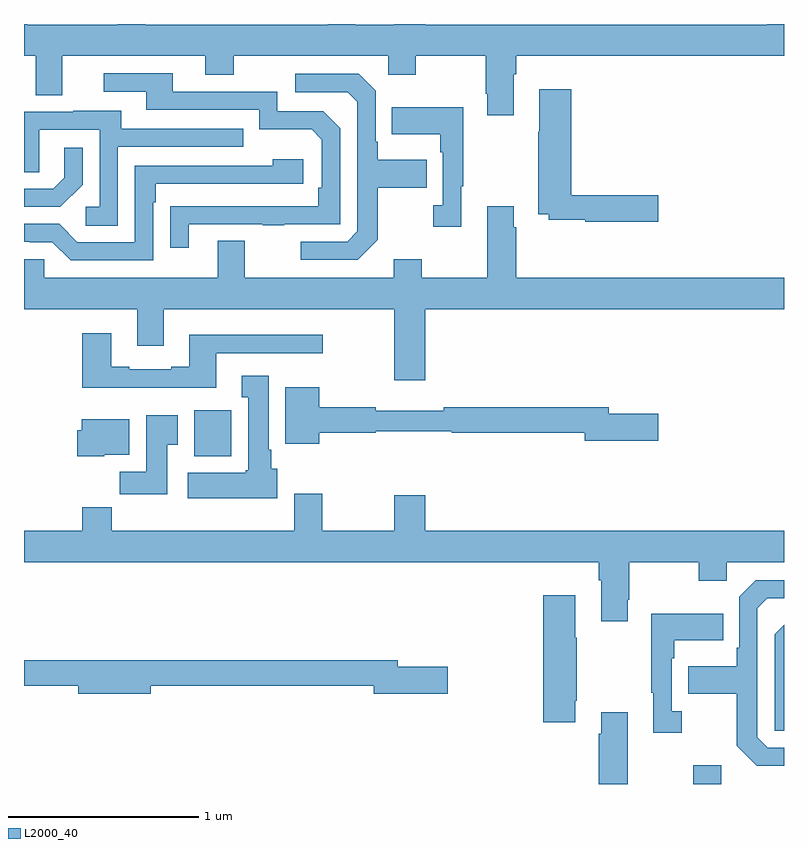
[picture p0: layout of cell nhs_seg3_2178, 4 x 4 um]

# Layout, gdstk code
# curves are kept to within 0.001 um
import gdstk
lib = gdstk.Library(unit=1e-6, precision=1e-09)
def R(c, l, rs):  # rectangles x0, y0, x1, y1
    for r in rs: c.add(gdstk.rectangle(r[:2], r[2:], *l))
def P(c, l, *ps):  # polygons
    for p in ps: c.add(gdstk.Polygon(p, *l))
L2000_40 = (2000, 40)

nhs_seg3_2178 = lib.new_cell('nhs_seg3_2178')
R(nhs_seg3_2178, L2000_40, [(226.522,714.4,226.669,714.499), (223.895,716.126,224.092,716.368)])
P(nhs_seg3_2178, L2000_40, [(225.577,718.136),(225.59,718.136),(225.59,718.232),(227,718.232),(227,718.4),(226.913,718.4),(226.913,718.396),(225.112,718.396),(225.112,718.4),(224.948,718.4),(224.948,718.396),(224.743,718.396),(224.743,718.4),(224.599,718.4),(224.599,718.396),(223.639,718.396),(223.639,718.4),(223.492,718.4),(223.492,718.396),(223.017,718.396),(223.017,718.4),(223,718.4),(223,718.232),(223.061,718.232),(223.061,718.024),(223.201,718.024),(223.201,718.232),(223.955,718.232),(223.955,718.133),(224.103,718.133),(224.103,718.232),(224.916,718.232),(224.916,718.133),(225.063,718.133),(225.063,718.232),(225.43,718.232),(225.43,718.033),(225.437,718.033),(225.437,717.921),(225.577,717.921)],
  [(223.867,717.345),(224.257,717.345),(224.257,717.34),(224.369,717.34),(224.369,717.345),(224.664,717.345),(224.664,717.852),(224.574,717.942),(224.334,717.942),(224.334,718.044),(223.783,718.044),(223.783,718.14),(223.419,718.14),(223.419,718.044),(223.643,718.044),(223.643,717.948),(224.238,717.948),(224.238,717.845),(224.515,717.845),(224.568,717.792),(224.568,717.538),(224.548,717.538),(224.548,717.441),(223.771,717.44),(223.771,717.222),(223.867,717.222)],
  [(224.863,717.265),(224.863,717.538),(225.119,717.538),(225.119,717.685),(224.863,717.685),(224.863,717.781),(224.85,717.781),(224.85,718.05),(224.763,718.137),(224.427,718.137),(224.427,718.041),(224.703,718.041),(224.754,717.99),(224.754,717.309),(224.7,717.255),(224.457,717.255),(224.457,717.159),(224.757,717.159)],
  [(226.339,717.5),(225.881,717.5),(225.881,718.057),(225.713,718.057),(225.713,717.833),(225.706,717.833),(225.706,717.398),(225.762,717.398),(225.762,717.37),(225.954,717.37),(225.954,717.358),(226.339,717.358)],
  [(225.301,717.545),(225.313,717.545),(225.313,717.961),(224.935,717.961),(224.935,717.821),(225.192,717.821),(225.192,717.725),(225.204,717.725),(225.204,717.446),(225.153,717.446),(225.153,717.333),(225.301,717.333)],
  [(223.494,717.753),(224.153,717.753),(224.153,717.849),(223.513,717.849),(223.513,717.943),(223.259,717.943),(223.259,717.939),(223,717.939),(223,717.619),(223.08,717.619),(223.08,717.843),(223.398,717.843),(223.398,717.438),(223.326,717.438),(223.326,717.337),(223.494,717.337)],
  [(223.308,717.554),(223.308,717.748),(223.211,717.748),(223.211,717.591),(223.154,717.534),(223,717.534),(223,717.438),(223.192,717.438)],
  [(223.68,717.461),(223.693,717.461),(223.693,717.558),(224.47,717.558),(224.47,717.688),(224.309,717.688),(224.309,717.654),(223.584,717.654),(223.584,717.252),(223.281,717.252),(223.185,717.348),(223,717.348),(223,717.255),(223.031,717.255),(223.031,717.252),(223.149,717.252),(223.245,717.156),(223.68,717.156)],
  [(223.107,717.162),(223,717.162),(223,716.9),(223.595,716.9),(223.595,716.706),(223.735,716.706),(223.735,716.9),(224.948,716.9),(224.948,716.526),(225.112,716.526),(225.112,716.9),(227,716.9),(227,717.064),(225.59,717.064),(225.59,717.329),(225.577,717.329),(225.577,717.442),(225.437,717.442),(225.437,717.064),(225.093,717.064),(225.093,717.163),(224.945,717.163),(224.945,717.064),(224.161,717.064),(224.161,717.259),(224.021,717.259),(224.021,717.064),(223.107,717.064)],
  [(224.011,716.667),(224.572,716.667),(224.572,716.764),(223.871,716.764),(223.871,716.596),(223.775,716.596),(223.775,716.583),(223.555,716.583),(223.555,716.596),(223.459,716.596),(223.459,716.773),(223.307,716.773),(223.307,716.486),(224.011,716.486)],
  [(224.332,716.058),(224.302,716.058),(224.302,716.158),(224.287,716.158),(224.287,716.548),(224.147,716.548),(224.147,716.435),(224.18,716.435),(224.18,716.052),(224.167,716.052),(224.167,716.038),(223.863,716.038),(223.863,715.904),(224.332,715.904)],
  [(224.554,716.248),(224.85,716.248),(224.85,716.256),(225.252,716.256),(225.252,716.248),(225.95,716.248),(225.95,716.206),(226.339,716.206),(226.339,716.348),(226.078,716.348),(226.078,716.384),(225.208,716.384),(225.208,716.365),(224.852,716.365),(224.852,716.384),(224.554,716.384),(224.554,716.488),(224.375,716.488),(224.375,716.192),(224.554,716.192)],
  [(223.753,716.185),(223.81,716.185),(223.81,716.341),(223.643,716.341),(223.643,716.044),(223.504,716.044),(223.504,715.926),(223.753,715.926)],
  [(223.422,716.132),(223.555,716.132),(223.555,716.32),(223.304,716.32),(223.304,716.262),(223.279,716.262),(223.279,716.126),(223.422,716.126)],
  [(226.177,715.369),(226.185,715.369),(226.185,715.568),(226.552,715.568),(226.552,715.469),(226.698,715.469),(226.698,715.568),(227,715.568),(227,715.732),(225.112,715.732),(225.112,715.921),(224.948,715.921),(224.948,715.732),(224.571,715.732),(224.571,715.927),(224.423,715.927),(224.423,715.732),(223.463,715.732),(223.463,715.856),(223.307,715.856),(223.307,715.732),(223,715.732),(223,715.568),(226.025,715.568),(226.025,715.472),(226.037,715.472),(226.037,715.257),(226.177,715.257)],
  [(227,714.591),(226.914,714.591),(226.86,714.645),(226.86,715.326),(226.911,715.377),(227,715.377),(227,715.473),(226.851,715.473),(226.764,715.386),(226.764,715.117),(226.752,715.117),(226.752,715.021),(226.495,715.021),(226.495,714.874),(226.752,714.874),(226.752,714.601),(226.857,714.495),(227,714.495)],
  [(225.901,714.838),(225.909,714.838),(225.909,715.169),(225.901,715.169),(225.901,715.393),(225.734,715.393),(225.734,714.726),(225.901,714.726)],
  [(226.462,714.782),(226.41,714.782),(226.41,715.061),(226.423,715.061),(226.423,715.157),(226.679,715.157),(226.679,715.297),(226.302,715.297),(226.302,714.881),(226.313,714.881),(226.313,714.669),(226.462,714.669)],
  [(227,715.238),(226.95,715.188),(226.95,714.681),(227,714.681)],
  [(223.666,714.916),(224.84,714.916),(224.84,714.874),(225.229,714.874),(225.229,715.016),(224.968,715.016),(224.968,715.052),(223,715.052),(223,714.916),(223.286,714.916),(223.286,714.874),(223.666,714.874)],
  [(226.037,714.778),(226.037,714.665),(226.025,714.665),(226.025,714.4),(226.177,714.4),(226.177,714.778)])

lib.write_gds('nhs_seg3_2178.gds')
